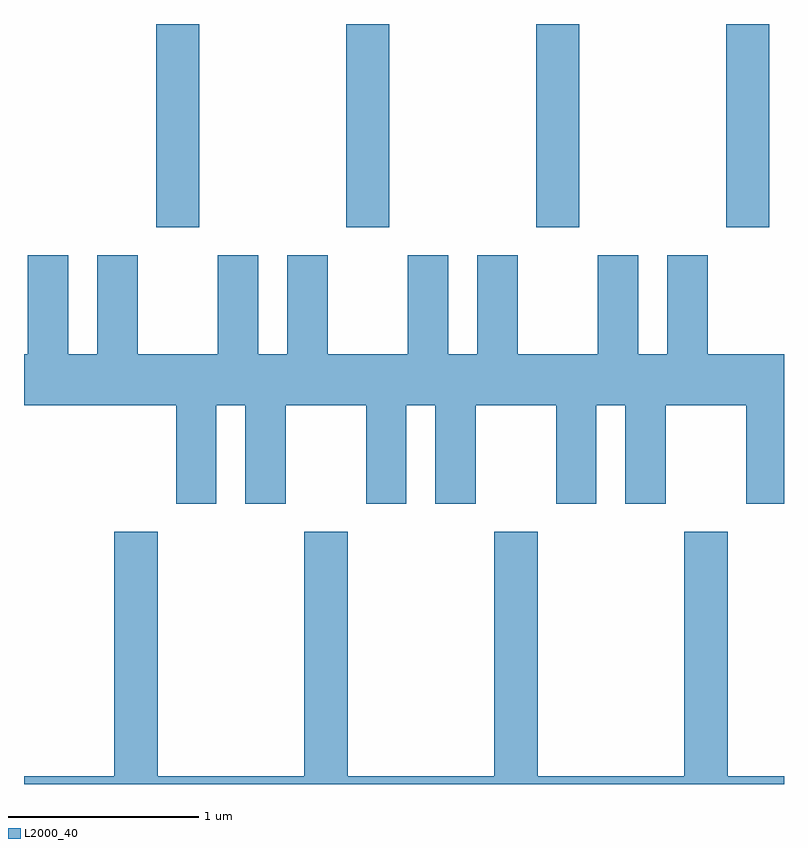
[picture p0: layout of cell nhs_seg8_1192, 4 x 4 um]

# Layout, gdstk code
import gdstk
lib = gdstk.Library(unit=1e-6, precision=1e-09)
def R(c, l, rs):  # rectangles x0, y0, x1, y1
    for r in rs: c.add(gdstk.rectangle(r[:2], r[2:], *l))
def A(c, l, x, y, w, h, nx, ny, dx, dy):  # array of equal rectangles
    R(c, l, [(x+i*dx, y+j*dy, x+i*dx+w, y+j*dy+h) for i in range(nx) for j in range(ny)])
def P(c, l, *ps):  # polygons
    for p in ps: c.add(gdstk.Polygon(p, *l))
L2000_40 = (2000, 40)

nhs_seg8_1192 = lib.new_cell('nhs_seg8_1192')
A(nhs_seg8_1192, L2000_40, 220.306, 1917.271, 0.228, 1.071, 4, 1, 1, 0)
P(nhs_seg8_1192, L2000_40, [(220.624,1916.336),(220.776,1916.336),(220.776,1915.816),(220.989,1915.816),(220.989,1916.336),(221.411,1916.336),(221.411,1915.816),(221.624,1915.816),(221.624,1916.336),(221.776,1916.336),(221.776,1915.816),(221.989,1915.816),(221.989,1916.336),(222.411,1916.336),(222.411,1915.816),(222.624,1915.816),(222.624,1916.336),(222.776,1916.336),(222.776,1915.816),(222.989,1915.816),(222.989,1916.336),(223.411,1916.336),(223.411,1915.816),(223.611,1915.816),(223.611,1916.604),(223.209,1916.604),(223.209,1917.124),(222.996,1917.124),(222.996,1916.604),(222.844,1916.604),(222.844,1917.124),(222.631,1917.124),(222.631,1916.604),(222.209,1916.604),(222.209,1917.124),(221.996,1917.124),(221.996,1916.604),(221.844,1916.604),(221.844,1917.124),(221.631,1917.124),(221.631,1916.604),(221.209,1916.604),(221.209,1917.124),(220.996,1917.124),(220.996,1916.604),(220.844,1916.604),(220.844,1917.124),(220.631,1917.124),(220.631,1916.604),(220.209,1916.604),(220.209,1917.124),(219.996,1917.124),(219.996,1916.604),(219.844,1916.604),(219.844,1917.124),(219.631,1917.124),(219.631,1916.604),(219.611,1916.604),(219.611,1916.336),(220.411,1916.336),(220.411,1915.816),(220.624,1915.816)],
  [(220.314,1915.669),(220.086,1915.669),(220.086,1914.384),(219.611,1914.384),(219.611,1914.342),(223.611,1914.342),(223.611,1914.384),(223.314,1914.384),(223.314,1915.669),(223.086,1915.669),(223.086,1914.384),(222.314,1914.384),(222.314,1915.669),(222.086,1915.669),(222.086,1914.384),(221.314,1914.384),(221.314,1915.669),(221.086,1915.669),(221.086,1914.384),(220.314,1914.384)])

lib.write_gds('nhs_seg8_1192.gds')
